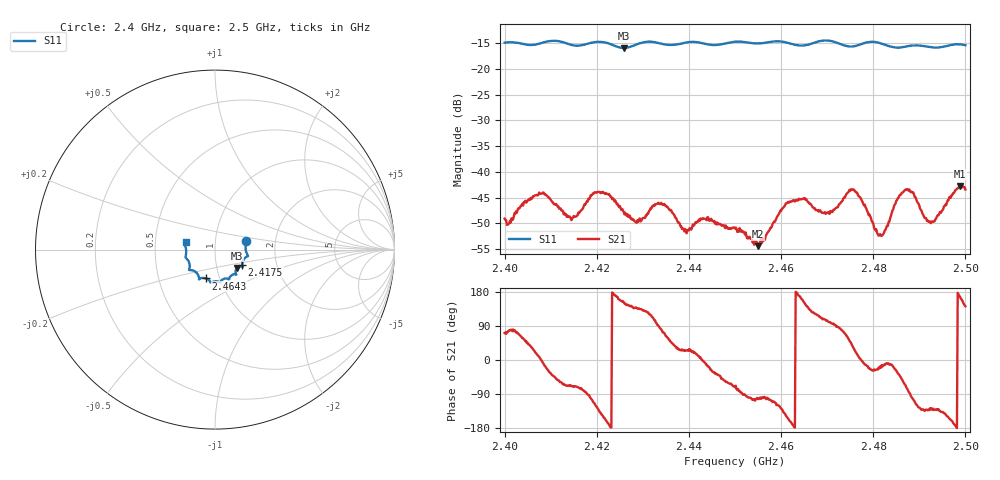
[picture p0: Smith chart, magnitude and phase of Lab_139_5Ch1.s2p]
# Hz S RI R 50
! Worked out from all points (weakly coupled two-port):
!   601 points, 2.4 GHz to 2.5 GHz, reference 50 ohm
!   highest |S21| = -42.72 dB at 2.4988 GHz (marker M1); lowest = -54.4 dB at 2.455 GHz (marker M2)
!   lowest |S11| = -15.9 dB at 2.4258 GHz (marker M3), VSWR 1.38, Z = 62.3 - j13.2 ohm
!   |S11| at or under -10 dB: start of sweep to end of sweep
!   S12 and S22 are empty: the file has one direction only
!   S11 on the Smith chart (normalised r, x): 2.4 GHz: 1.41, +0.14; 2.4175 GHz: 1.33, -0.23; 2.4643 GHz: 0.86, -0.29; 2.5 GHz: 0.72, +0.06
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2.4e9  0.1729 0.0486  0.00112 0.00333  0 0  0 0
2.408e9  0.1774 -0.0206  0.00614 -9.74e-05  0 0  0 0
2.414e9  0.1669 -0.0465  0.00145 -0.00339  0 0  0 0
2.416667e9  0.1523 -0.074  0.00112 -0.00409  0 0  0 0
2.4175e9  0.1512 -0.0836  0.00055 -0.00475  0 0  0 0
2.4215e9  0.1536 -0.0964  -0.00552 -0.00297  0 0  0 0
2.425833e9  0.1219 -0.1028  -0.00361 0.0019  0 0  0 0
2.428667e9  0.1147 -0.1292  -0.00235 0.00217  0 0  0 0
2.433333e9  0.1136 -0.1373  -0.000117 0.00501  0 0  0 0
2.439e9  0.0798 -0.1599  0.00237 0.00116  0 0  0 0
2.45e9  0.0286 -0.1814  0.000882 -0.00267  0 0  0 0
2.455e9  0.00224 -0.1766  -0.000411 -0.00185  0 0  0 0
2.464333e9  -0.0497 -0.1607  -0.00518 0.00157  0 0  0 0
2.466667e9  -0.0762 -0.1587  -0.00277 0.00377  0 0  0 0
2.470667e9  -0.0885 -0.1648  -0.000702 0.0041  0 0  0 0
2.475667e9  -0.1128 -0.1209  0.00563 0.0036  0 0  0 0
2.481333e9  -0.1428 -0.1073  0.00225 -0.000906  0 0  0 0
2.483333e9  -0.1404 -0.09  0.00322 -0.000517  0 0  0 0
2.487e9  -0.1552 -0.0547  0.00267 -0.00617  0 0  0 0
2.492667e9  -0.1607 -0.0182  -0.00199 -0.00258  0 0  0 0
2.498833e9  -0.1692 0.0369  -0.00712 0.00166  0 0  0 0
2.5e9  -0.1642 0.0428  -0.0053 0.00417  0 0  0 0
